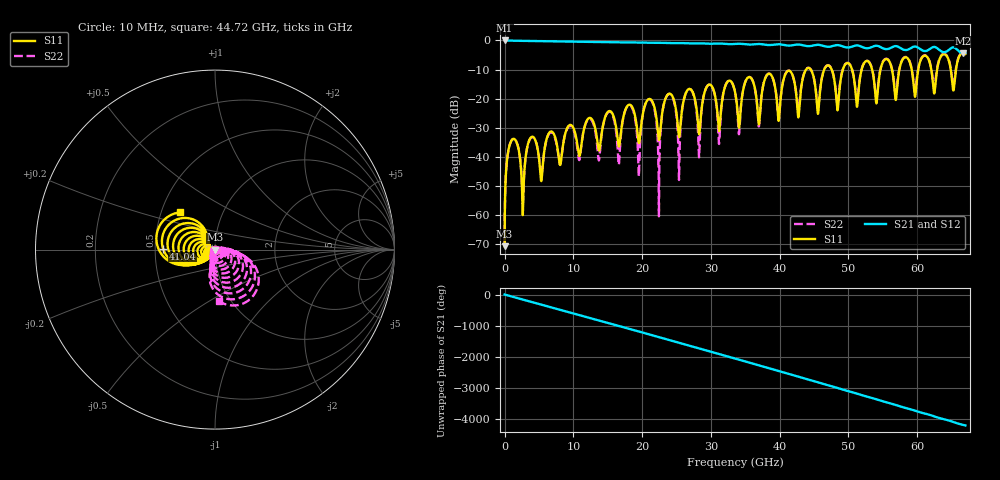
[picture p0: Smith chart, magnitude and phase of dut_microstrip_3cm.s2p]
! Created with skrf 2.1.0 (http://scikit-rf.org).
# Hz S RI R 50.0
!freq ReS11 ImS11 ReS21 ImS21 ReS12 ImS12 ReS22 ImS22
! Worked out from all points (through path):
!   6701 points, 10 MHz to 67 GHz, reference 50 ohm
!   highest |S21| = -0.01 dB at 10 MHz (marker M1); lowest = -4.4 dB at 66.68 GHz (marker M2)
!   group delay of S21, straight-line fit = 175 ps
!   lowest |S11| = -70.7 dB at 10 MHz (marker M3), VSWR 1.00, Z = 50 - j0.0289 ohm
!   |S11| at or under -10 dB: start of sweep to 43.84 GHz; 44.52 GHz to 46.48 GHz (1.96 GHz wide, 4.31 % of centre); 47.56 GHz to 49.19 GHz (1.625 GHz wide, 3.36 % of centre)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
!   |S22| runs from -70.7 to -4.2 dB; largest |S21 - S12| = 8.5e-15
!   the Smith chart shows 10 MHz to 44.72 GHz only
!   S11 on the Smith chart (normalised r, x): 10 MHz: 1.00, -0.00; 41.04 GHz: 0.55, +0.01; 44.72 GHz: 0.63, +0.28
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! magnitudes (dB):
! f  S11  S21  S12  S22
! 10 MHz  -70.7  0.0  0.0  -70.7
! 1.15 GHz  -34.0  -0.1  -0.1  -34.0
! 2.65 GHz  -60.0  -0.1  -0.1  -56.1
! 3.909 GHz  -33.2  -0.2  -0.2  -33.3
! 11.18 GHz  -35.7  -0.5  -0.5  -35.7
! 18.14 GHz  -22.1  -0.7  -0.7  -22.3
! 19.54 GHz  -35.3  -0.7  -0.7  -46.3
! 21.05 GHz  -20.1  -0.8  -0.8  -20.2
! 22.35 GHz  -32.6  -0.8  -0.8  -39.0
! 23.81 GHz  -18.4  -0.9  -0.9  -18.5
! 25.36 GHz  -33.2  -0.9  -0.9  -47.7
! 26.7 GHz  -16.8  -1.0  -1.0  -16.9
! 28.27 GHz  -32.1  -1.0  -1.0  -40.0
! 29.55 GHz  -15.5  -1.1  -1.1  -15.5
! 31.17 GHz  -30.9  -1.1  -1.1  -35.3
! 33.51 GHz  -17.6  -1.2  -1.2  -17.8
! 41.04 GHz  -10.8  -1.7  -1.7  -10.7
! 44.67 GHz  -10.7  -1.8  -1.8  -10.6
! 44.72 GHz  -10.9  -1.8  -1.8  -10.9
! 55.84 GHz  -6.9  -2.9  -2.9  -6.8
! 66.68 GHz  -4.3  -4.4  -4.4  -4.2
! 67 GHz  -4.6  -4.2  -4.2  -4.5
